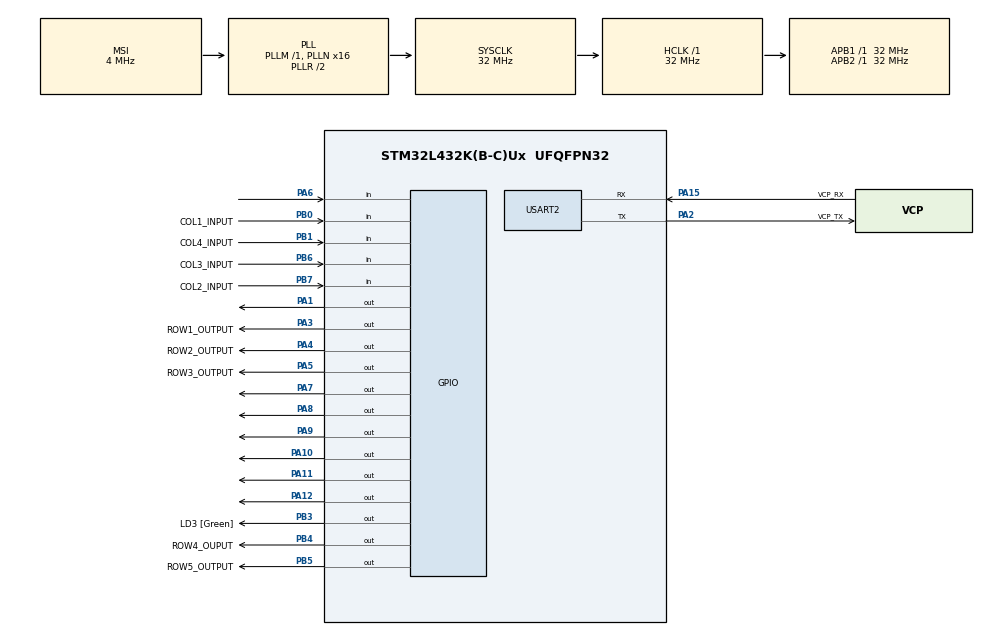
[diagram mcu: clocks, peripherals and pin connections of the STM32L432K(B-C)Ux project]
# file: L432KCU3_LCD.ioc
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Mcu.Family=STM32L4
Mcu.Name=STM32L432K(B-C)Ux
Mcu.Package=UFQFPN32
NVIC.PriorityGroup=NVIC_PRIORITYGROUP_4
PA0.GPIO_Label=MCO [High speed clock in]
PA0.Mode=HSE-External-Clock-Source-for-LittleOrca
PA0.Signal=RCC_CK_IN
PA1.Signal=GPIO_Output
PA10.Signal=GPIO_Output
PA11.Signal=GPIO_Output
PA12.Signal=GPIO_Output
PA13\ (JTMS-SWDIO).GPIO_Label=SWDIO
PA13\ (JTMS-SWDIO).Mode=Serial_Wire
PA13\ (JTMS-SWDIO).Signal=SYS_JTMS-SWDIO
PA14\ (JTCK-SWCLK).GPIO_Label=SWCLK
PA14\ (JTCK-SWCLK).Mode=Serial_Wire
PA14\ (JTCK-SWCLK).Signal=SYS_JTCK-SWCLK
PA15\ (JTDI).GPIO_Label=VCP_RX
PA15\ (JTDI).Mode=Asynchronous
PA15\ (JTDI).Signal=USART2_RX
PA2.GPIO_Label=VCP_TX
PA2.Mode=Asynchronous
PA2.Signal=USART2_TX
PA3.GPIO_Label=ROW1_OUTPUT
PA3.Signal=GPIO_Output
PA4.GPIO_Label=ROW2_OUTPUT
PA4.Signal=GPIO_Output
PA5.GPIO_Label=ROW3_OUTPUT
PA5.Signal=GPIO_Output
PA6.GPIO_PuPd=GPIO_PULLDOWN
PA6.Signal=GPIO_Input
PA7.Signal=GPIO_Output
PA8.Signal=GPIO_Output
PA9.Signal=GPIO_Output
PB0.GPIO_Label=COL1_INPUT
PB0.GPIO_PuPd=GPIO_PULLDOWN
PB0.Signal=GPIO_Input
PB1.GPIO_Label=COL4_INPUT
PB1.GPIO_PuPd=GPIO_PULLDOWN
PB1.Signal=GPIO_Input
PB3\ (JTDO-TRACESWO).GPIO_Label=LD3 [Green]
PB3\ (JTDO-TRACESWO).Signal=GPIO_Output
PB4\ (NJTRST).GPIO_Label=ROW4_OUPUT
PB4\ (NJTRST).Signal=GPIO_Output
PB5.GPIO_Label=ROW5_OUTPUT
PB5.Signal=GPIO_Output
PB6.GPIO_Label=COL3_INPUT
PB6.GPIO_PuPd=GPIO_PULLDOWN
PB6.Signal=GPIO_Input
PB7.GPIO_Label=COL2_INPUT
PB7.GPIO_Mode=GPIO_MODE_INPUT
PB7.GPIO_PuPd=GPIO_PULLDOWN
PB7.Signal=GPIO_Input
PC14-OSC32_IN\ (PC14).Mode=LSE-External-Oscillator
PC14-OSC32_IN\ (PC14).Signal=RCC_OSC32_IN
PC15-OSC32_OUT\ (PC15).Mode=LSE-External-Oscillator
PC15-OSC32_OUT\ (PC15).Signal=RCC_OSC32_OUT
ProjectManager.HeapSize=0x200
ProjectManager.StackSize=0x400
ProjectManager.TargetToolchain=STM32CubeIDE
RCC.AHBFreq_Value=32000000
RCC.APB1Freq_Value=32000000
RCC.APB1TimFreq_Value=32000000
RCC.APB2Freq_Value=32000000
RCC.APB2TimFreq_Value=32000000
RCC.CortexFreq_Value=32000000
RCC.HCLKFreq_Value=32000000
RCC.HSE_VALUE=8000000
RCC.HSI16_VALUE=16000000
RCC.HSI48_VALUE=48000000
RCC.HSI_VALUE=16000000
RCC.MSI_VALUE=4000000
RCC.PLLMUL=RCC_PLLMUL_4
RCC.PLLN=16
RCC.SYSCLKFreq_VALUE=32000000
RCC.SYSCLKSource=RCC_SYSCLKSOURCE_PLLCLK
RCC.VCOOutputFreq_Value=64000000
USART2.VirtualMode-Asynchronous=VM_ASYNC
board=NUCLEO-L432KC

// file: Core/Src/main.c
/* USER CODE BEGIN Header */
/**
  ******************************************************************************
  * @file           : main.c
  * @brief          : Main program body
  * Author :Arkar
  * Description :
  *
  ******************************************************************************
  * @attention
  *
  * Copyright (c) 2024 STMicroelectronics.
  * All rights reserved.
  *
  * This software is licensed under terms that can be found in the LICENSE file
  * in the root directory of this software component.
  * If no LICENSE file comes with this software, it is provided AS-IS.
  *
  ******************************************************************************
  */
/* USER CODE END Header */
#include "main.h"

/* USER CODE BEGIN Includes */
#include "HD44780.h"
#include "keypad.h"
#include "calculator.h"
#include <string.h>
#include <stdlib.h>
#include <stdio.h>

/* USER CODE END Includes */

UART_HandleTypeDef huart2;

void SystemClock_Config(void);
static void MX_GPIO_Init(void);
static void MX_USART2_UART_Init(void);

/* USER CODE BEGIN 0 */

/*
 * Function :void show2Strings(char* str1,char* str2)
 * Description : This function display the two strings in two different positions
 * @param : str1, str2
 * Return : None
 * */

void show2Strings(char* str1,char* str2) {
	HD44780_GotoXY(0, 0);
	HD44780_PutStr(str1);
	HD44780_GotoXY(0, 1);
	HD44780_PutStr(str2);
}

void msDelay(uint32_t Delay)
{
  uint32_t tickstart = HAL_GetTick();
  uint32_t wait = Delay;

  /* Add a period to guaranty minimum wait */
  if (wait < HAL_MAX_DELAY)
  {
    wait += (uint32_t)uwTickFreq;
  }

  while ((HAL_GetTick() - tickstart) < wait)
  {
  }
}

/* USER CODE END 0 */

int main(void)
{
  /* USER CODE BEGIN 1 */

	char *string[8] = {"Hello All","I'm Arkar","I'm working on","a simple LCD","Calculator","Project","Thank you!",":-)"};

  /* USER CODE END 1 */

  /* MCU Configuration--------------------------------------------------------*/

  /* Reset of all peripherals, Initializes the Flash interface and the Systick. */
  HAL_Init();

  /* USER CODE BEGIN Init */
  keyPadInit();

  /* USER CODE END Init */

  /* Configure the system clock */
  SystemClock_Config();

  /* Initialize all configured peripherals */
  MX_GPIO_Init();
  MX_USART2_UART_Init();
  /* USER CODE BEGIN 2 */
  HD44780_Init(); //initialize LCD Display

  /* USER CODE END 2 */

  /* Infinite loop */
  /* USER CODE BEGIN WHILE */
  while (1)
  {

#if 0
	  uint32_t timestamp = HAL_GetTick();
	  uint16_t rxBuffer[]={0};
	  char message[100]= {'\0'};
	  sprintf(message,"counter value is %x \n\r",timestamp);
	  HAL_UART_Transmit(&huart2, (uint8_t*)message, sizeof(message), 100);
	  HAL_Delay(2000);
	  //HAL_UART_Receive(&huart2, pData, Size, Timeout)
#endif

	  static uint8_t numCount =0;
	  char key;
	  char inputBuffer[16] ={0};
	  char outputBuffer[16] ={0};
	  uint8_t input_index =0;
	  float num1,num2,result;

	  if(HAL_GPIO_ReadPin(GPIOA, GPIO_PIN_7)){

		  //This loop print out the greeting message
			  for (int8_t i=0 ; i<sizeof(string)/sizeof(string[0]) ;i++){

			  	  HAL_GPIO_WritePin(GPIOB/*On-board led port*/, LD3_Pin/*it's PB3*/, GPIO_PIN_SET);
			  	  HD44780_ClrScr(); //Clear LCD screen
			  	  show2Strings(string[i], string[i+1]);

			  	  i++;
			  	  msDelay(1000);
			  	  HAL_GPIO_WritePin(GPIOB, LD3_Pin, GPIO_PIN_RESET);
			  	  HAL_Delay(1000);

			  }

			  HD44780_ClrScr();// clear the greeting screen

			  //This loop for the calculation
			  do {
				  if(numCount ==0){
					  HD44780_PutStr("Num1:");
					  numCount++;
				  }

				  key = detectKeyPressed();//read the keypad input

				  	  if (key !='\0'){
				  		  //check if Enter Key
				  		  if (key == 'E'){
				  			  numCount++;
				  			  num1 =atof(inputBuffer);//convert back char to integer
				  			  memset(inputBuffer,0,sizeof(inputBuffer));//clear the buffer
				  			  input_index =0;
				  			  HD44780_ClrScr();

				  		  }
				  		  //handle the wrong input and press Esc to clear the buffer
				  		  else if(key == 'X'){
				  			HD44780_ClrScr();
				  			memset(inputBuffer,0,sizeof(inputBuffer));
				  			input_index =0;
				  			numCount=0;
				  		  }
				  		  //accept the rest of the key input
				  		  else{
						  	  	HD44780_PutChar(key);
						  	  	inputBuffer[input_index++]=key;
						  		HAL_Delay(30);

				  		  }

				  	  }
				  	  /*This condition store the input in the buffer and
				  	   * change to int type and store in num2
				  	   * */

				  	  if(numCount == 2){

							HD44780_PutStr("Num2:");
							while(1){

								key = detectKeyPressed();
								 if(key !=0 && key !='E' && key !='X')
								  {
									  HD44780_PutChar(key);
									  inputBuffer[input_index++]=key;
									  HAL_Delay(30);
								  }
								 /*handle to clear the buffer if press Esc button
								  * in case if we press the wrong input */
							  	else if(key == 'X'){
							  			HD44780_ClrScr();
							  			memset(inputBuffer,0,sizeof(inputBuffer));
							  			input_index =0;
							  			break;
							  		  }

								 //check if Enter Key and register the number to num2
								 else if (key == 'E'){
									 numCount++;
						  			  num2 =atof(inputBuffer);
						  			  memset(inputBuffer,0,sizeof(inputBuffer));
						  			  input_index =0;
						  			  HD44780_ClrScr();
									  break;
								 }
							}

						 }

				  	  /*This condition take the operator character and do the calculation
				  	   * of the two inputs And print on LCD and allows user to clear the screen
				  	   * if the input is wrong
				  	   * */
				  	  if(numCount ==3){
							HD44780_PutStr("Operator:");
							while(1){

								key = detectKeyPressed();
								 if(key !=0 && key !='E' && key !='X')
								  {
									if (key=='+' || key=='-' || key== '*' || key =='/' || key=='^'){
									HD44780_PutChar(key);
									result= calculate(num1, num2,key);
									snprintf(outputBuffer,sizeof(outputBuffer)," %0.3f",result);
									HD44780_GotoXY(0,1);
									HD44780_PutStr(outputBuffer);
									HAL_Delay(3000);
									//HD44780_ClrScr();
									memset(outputBuffer,0,sizeof(outputBuffer));
									numCount =0;

									//break;
									}

									/*Error handling for operator input :
									 * For operator inputs other than +,-,*,/,^ keys are pressed ,
									 * it display the error
									 * message*/

									else{
										HD44780_ClrScr();
										result= calculate(num1, num2,key);
										break;
									}

								  }

								 //clear the screen after display the result
								 else if(key == 'X'){
										HD44780_ClrScr();
										break;

									}

							}

				  	  }

			  }while(1); //do while(1) loop end here.

	  }

    /* USER CODE END WHILE */

  }
}

void SystemClock_Config(void)
{
  RCC_OscInitTypeDef RCC_OscInitStruct = {0};
  RCC_ClkInitTypeDef RCC_ClkInitStruct = {0};

  /** Configure the main internal regulator output voltage
  */
  if (HAL_PWREx_ControlVoltageScaling(PWR_REGULATOR_VOLTAGE_SCALE1) != HAL_OK)
  {
    Error_Handler();
  }

  /** Configure LSE Drive Capability
  */
  HAL_PWR_EnableBkUpAccess();
  __HAL_RCC_LSEDRIVE_CONFIG(RCC_LSEDRIVE_LOW);

  /** Initializes the RCC Oscillators according to the specified parameters
  * in the RCC_OscInitTypeDef structure.
  */
  RCC_OscInitStruct.OscillatorType = RCC_OSCILLATORTYPE_LSE|RCC_OSCILLATORTYPE_MSI;
  RCC_OscInitStruct.LSEState = RCC_LSE_ON;
  RCC_OscInitStruct.MSIState = RCC_MSI_ON;
  RCC_OscInitStruct.MSICalibrationValue = 0;
  RCC_OscInitStruct.MSIClockRange = RCC_MSIRANGE_6;
  RCC_OscInitStruct.PLL.PLLState = RCC_PLL_ON;
  RCC_OscInitStruct.PLL.PLLSource = RCC_PLLSOURCE_MSI;
  RCC_OscInitStruct.PLL.PLLM = 1;
  RCC_OscInitStruct.PLL.PLLN = 16;
  RCC_OscInitStruct.PLL.PLLP = RCC_PLLP_DIV7;
  RCC_OscInitStruct.PLL.PLLQ = RCC_PLLQ_DIV2;
  RCC_OscInitStruct.PLL.PLLR = RCC_PLLR_DIV2;
  if (HAL_RCC_OscConfig(&RCC_OscInitStruct) != HAL_OK)
  {
    Error_Handler();
  }

  /** Initializes the CPU, AHB and APB buses clocks
  */
  RCC_ClkInitStruct.ClockType = RCC_CLOCKTYPE_HCLK|RCC_CLOCKTYPE_SYSCLK
                              |RCC_CLOCKTYPE_PCLK1|RCC_CLOCKTYPE_PCLK2;
  RCC_ClkInitStruct.SYSCLKSource = RCC_SYSCLKSOURCE_PLLCLK;
  RCC_ClkInitStruct.AHBCLKDivider = RCC_SYSCLK_DIV1;
  RCC_ClkInitStruct.APB1CLKDivider = RCC_HCLK_DIV1;
  RCC_ClkInitStruct.APB2CLKDivider = RCC_HCLK_DIV1;

  if (HAL_RCC_ClockConfig(&RCC_ClkInitStruct, FLASH_LATENCY_1) != HAL_OK)
  {
    Error_Handler();
  }

  /** Enable MSI Auto calibration
  */
  HAL_RCCEx_EnableMSIPLLMode();
}

static void MX_USART2_UART_Init(void)
{

  huart2.Instance = USART2;
  huart2.Init.BaudRate = 115200;
  huart2.Init.WordLength = UART_WORDLENGTH_8B;
  huart2.Init.StopBits = UART_STOPBITS_1;
  huart2.Init.Parity = UART_PARITY_NONE;
  huart2.Init.Mode = UART_MODE_TX_RX;
  huart2.Init.HwFlowCtl = UART_HWCONTROL_NONE;
  huart2.Init.OverSampling = UART_OVERSAMPLING_16;
  huart2.Init.OneBitSampling = UART_ONE_BIT_SAMPLE_DISABLE;
  huart2.AdvancedInit.AdvFeatureInit = UART_ADVFEATURE_NO_INIT;
  if (HAL_UART_Init(&huart2) != HAL_OK)
  {
    Error_Handler();
  }

}

static void MX_GPIO_Init(void)
{
  GPIO_InitTypeDef GPIO_InitStruct = {0};

  /* GPIO Ports Clock Enable */
  __HAL_RCC_GPIOC_CLK_ENABLE();
  __HAL_RCC_GPIOA_CLK_ENABLE();
  __HAL_RCC_GPIOB_CLK_ENABLE();

  /*Configure GPIO pin Output Level */
  HAL_GPIO_WritePin(GPIOA, GPIO_PIN_1|ROW1_OUTPUT_Pin|ROW2_OUTPUT_Pin|ROW3_OUTPUT_Pin
                          |GPIO_PIN_7|GPIO_PIN_8|GPIO_PIN_9|GPIO_PIN_10
                          |GPIO_PIN_11|GPIO_PIN_12, GPIO_PIN_RESET);

  /*Configure GPIO pin Output Level */
  HAL_GPIO_WritePin(GPIOB, LD3_Pin|ROW4_OUPUT_Pin|ROW5_OUTPUT_Pin, GPIO_PIN_RESET);

  /*Configure GPIO pins : PA1 ROW1_OUTPUT_Pin ROW2_OUTPUT_Pin ROW3_OUTPUT_Pin
                           PA7 PA8 PA9 PA10
                           PA11 PA12 */
  GPIO_InitStruct.Pin = GPIO_PIN_1|ROW1_OUTPUT_Pin|ROW2_OUTPUT_Pin|ROW3_OUTPUT_Pin
                          |GPIO_PIN_7|GPIO_PIN_8|GPIO_PIN_9|GPIO_PIN_10
                          |GPIO_PIN_11|GPIO_PIN_12;
  GPIO_InitStruct.Mode = GPIO_MODE_OUTPUT_PP;
  GPIO_InitStruct.Pull = GPIO_NOPULL;
  GPIO_InitStruct.Speed = GPIO_SPEED_FREQ_LOW;
  HAL_GPIO_Init(GPIOA, &GPIO_InitStruct);

  /*Configure GPIO pin : PA6 */
  GPIO_InitStruct.Pin = GPIO_PIN_6;
  GPIO_InitStruct.Mode = GPIO_MODE_INPUT;
  GPIO_InitStruct.Pull = GPIO_PULLDOWN;
  HAL_GPIO_Init(GPIOA, &GPIO_InitStruct);

  /*Configure GPIO pins : COL1_INPUT_Pin COL4_INPUT_Pin COL3_INPUT_Pin COL2_INPUT_Pin */
  GPIO_InitStruct.Pin = COL1_INPUT_Pin|COL4_INPUT_Pin|COL3_INPUT_Pin|COL2_INPUT_Pin;
  GPIO_InitStruct.Mode = GPIO_MODE_INPUT;
  GPIO_InitStruct.Pull = GPIO_PULLDOWN;
  HAL_GPIO_Init(GPIOB, &GPIO_InitStruct);

  /*Configure GPIO pins : LD3_Pin ROW4_OUPUT_Pin ROW5_OUTPUT_Pin */
  GPIO_InitStruct.Pin = LD3_Pin|ROW4_OUPUT_Pin|ROW5_OUTPUT_Pin;
  GPIO_InitStruct.Mode = GPIO_MODE_OUTPUT_PP;
  GPIO_InitStruct.Pull = GPIO_NOPULL;
  GPIO_InitStruct.Speed = GPIO_SPEED_FREQ_LOW;
  HAL_GPIO_Init(GPIOB, &GPIO_InitStruct);

}

void Error_Handler(void)
{
  __disable_irq();
  while (1)
  {
  }
}
